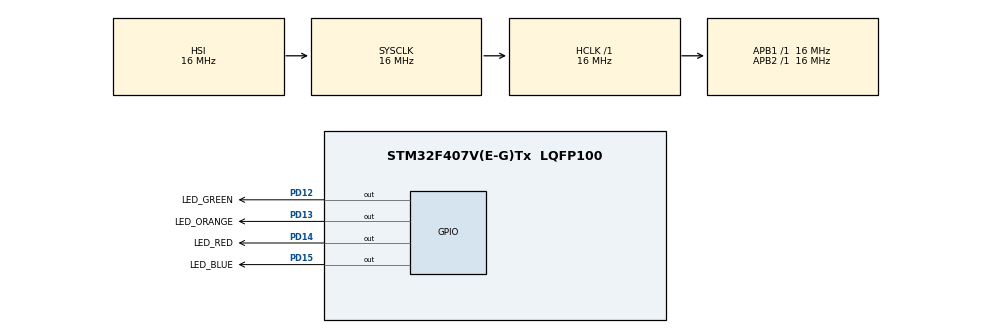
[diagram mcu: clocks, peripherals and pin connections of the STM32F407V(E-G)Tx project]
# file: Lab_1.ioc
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Mcu.Family=STM32F4
Mcu.Name=STM32F407V(E-G)Tx
Mcu.Package=LQFP100
NVIC.PriorityGroup=NVIC_PRIORITYGROUP_4
PD12.GPIO_Label=LED_GREEN
PD12.Signal=GPIO_Output
PD13.GPIO_Label=LED_ORANGE
PD13.Signal=GPIO_Output
PD14.GPIO_Label=LED_RED
PD14.Signal=GPIO_Output
PD15.GPIO_Label=LED_BLUE
PD15.Signal=GPIO_Output
ProjectManager.HeapSize=0x200
ProjectManager.StackSize=0x400
ProjectManager.TargetToolchain=STM32CubeIDE
RCC.AHBFreq_Value=16000000
RCC.APB1Freq_Value=16000000
RCC.APB2Freq_Value=16000000
RCC.CortexFreq_Value=16000000
RCC.HSE_VALUE=25000000
RCC.HSI_VALUE=16000000
RCC.LSE_VALUE=32768
RCC.SYSCLKFreq_VALUE=16000000
RCC.VCOOutputFreq_Value=192000000
board=custom

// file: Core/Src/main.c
/* USER CODE BEGIN Header */
/**
  ******************************************************************************
  * @file           : main.c
  * @brief          : Main program body
  ******************************************************************************
  * @attention
  *
  * Copyright (c) 2024 STMicroelectronics.
  * All rights reserved.
  *
  * This software is licensed under terms that can be found in the LICENSE file
  * in the root directory of this software component.
  * If no LICENSE file comes with this software, it is provided AS-IS.
  *
  ******************************************************************************
  */
/* USER CODE END Header */
#include "main.h"

/* USER CODE BEGIN PTD */

#define LED_SWITCH_DELAY	(100)
#define LED_DELAY	(500)

/* USER CODE END PTD */

void SystemClock_Config(void);
static void MX_GPIO_Init(void);

int main(void)
{

  /* MCU Configuration--------------------------------------------------------*/

  /* Reset of all peripherals, Initializes the Flash interface and the Systick. */
  HAL_Init();

  /* Configure the system clock */
  SystemClock_Config();

  /* Initialize all configured peripherals */
  MX_GPIO_Init();

  /* Infinite loop */
  /* USER CODE BEGIN WHILE */
  while (1)
  {
	  HAL_GPIO_WritePin(LED_GREEN_GPIO_Port, LED_GREEN_Pin, GPIO_PIN_SET);
	  HAL_Delay(LED_DELAY);
	  HAL_GPIO_WritePin(LED_GREEN_GPIO_Port, LED_GREEN_Pin, GPIO_PIN_RESET);
	  HAL_Delay(LED_SWITCH_DELAY);
	  HAL_GPIO_WritePin(LED_GREEN_GPIO_Port, LED_GREEN_Pin, GPIO_PIN_SET);
	  HAL_Delay(LED_DELAY);
	  HAL_GPIO_WritePin(LED_GREEN_GPIO_Port, LED_GREEN_Pin, GPIO_PIN_RESET);
	  HAL_Delay(LED_SWITCH_DELAY);
	  HAL_GPIO_WritePin(LED_GREEN_GPIO_Port, LED_ORANGE_Pin, GPIO_PIN_SET);
	  HAL_Delay(LED_DELAY);
	  HAL_GPIO_WritePin(LED_GREEN_GPIO_Port, LED_ORANGE_Pin, GPIO_PIN_RESET);
	  HAL_Delay(LED_SWITCH_DELAY);
	  HAL_GPIO_WritePin(LED_GREEN_GPIO_Port, LED_RED_Pin, GPIO_PIN_SET);
	  HAL_Delay(LED_DELAY);
	  HAL_GPIO_WritePin(LED_GREEN_GPIO_Port, LED_RED_Pin, GPIO_PIN_RESET);
	  HAL_Delay(LED_SWITCH_DELAY);
	  HAL_GPIO_WritePin(LED_GREEN_GPIO_Port, LED_RED_Pin, GPIO_PIN_SET);
	  HAL_Delay(LED_DELAY);
	  HAL_GPIO_WritePin(LED_GREEN_GPIO_Port, LED_RED_Pin, GPIO_PIN_RESET);
	  HAL_Delay(LED_SWITCH_DELAY);
	  HAL_GPIO_WritePin(LED_GREEN_GPIO_Port, LED_ORANGE_Pin, GPIO_PIN_SET);
	  HAL_Delay(LED_DELAY);
	  HAL_GPIO_WritePin(LED_GREEN_GPIO_Port, LED_ORANGE_Pin, GPIO_PIN_RESET);
	  HAL_Delay(LED_SWITCH_DELAY);
	  HAL_GPIO_WritePin(LED_GREEN_GPIO_Port, LED_GREEN_Pin, GPIO_PIN_SET);
	  HAL_Delay(LED_DELAY);
	  HAL_GPIO_WritePin(LED_GREEN_GPIO_Port, LED_GREEN_Pin, GPIO_PIN_RESET);
	  HAL_Delay(LED_SWITCH_DELAY);
	  HAL_GPIO_WritePin(LED_GREEN_GPIO_Port, LED_BLUE_Pin, GPIO_PIN_SET);
	  HAL_Delay(LED_DELAY);
	  HAL_GPIO_WritePin(LED_GREEN_GPIO_Port, LED_BLUE_Pin, GPIO_PIN_RESET);
	  HAL_Delay(LED_SWITCH_DELAY);
	  HAL_GPIO_WritePin(LED_GREEN_GPIO_Port, LED_GREEN_Pin, GPIO_PIN_SET);
	  HAL_GPIO_WritePin(LED_GREEN_GPIO_Port, LED_ORANGE_Pin, GPIO_PIN_SET);
	  HAL_GPIO_WritePin(LED_GREEN_GPIO_Port, LED_RED_Pin, GPIO_PIN_SET);
	  HAL_GPIO_WritePin(LED_GREEN_GPIO_Port, LED_BLUE_Pin, GPIO_PIN_SET);
	  HAL_Delay(LED_DELAY);
	  HAL_GPIO_WritePin(LED_GREEN_GPIO_Port, LED_GREEN_Pin, GPIO_PIN_RESET);
	  HAL_GPIO_WritePin(LED_GREEN_GPIO_Port, LED_ORANGE_Pin, GPIO_PIN_RESET);
	  HAL_GPIO_WritePin(LED_GREEN_GPIO_Port, LED_RED_Pin, GPIO_PIN_RESET);
	  HAL_GPIO_WritePin(LED_GREEN_GPIO_Port, LED_BLUE_Pin, GPIO_PIN_RESET);
	  HAL_Delay(LED_SWITCH_DELAY);
	  HAL_GPIO_WritePin(LED_GREEN_GPIO_Port, LED_GREEN_Pin, GPIO_PIN_SET);
	  HAL_GPIO_WritePin(LED_GREEN_GPIO_Port, LED_ORANGE_Pin, GPIO_PIN_SET);
	  HAL_GPIO_WritePin(LED_GREEN_GPIO_Port, LED_RED_Pin, GPIO_PIN_SET);
	  HAL_GPIO_WritePin(LED_GREEN_GPIO_Port, LED_BLUE_Pin, GPIO_PIN_SET);
	  HAL_Delay(LED_DELAY);
	  HAL_GPIO_WritePin(LED_GREEN_GPIO_Port, LED_GREEN_Pin, GPIO_PIN_RESET);
	  HAL_GPIO_WritePin(LED_GREEN_GPIO_Port, LED_ORANGE_Pin, GPIO_PIN_RESET);
	  HAL_GPIO_WritePin(LED_GREEN_GPIO_Port, LED_RED_Pin, GPIO_PIN_RESET);
	  HAL_GPIO_WritePin(LED_GREEN_GPIO_Port, LED_BLUE_Pin, GPIO_PIN_RESET);
	  HAL_Delay(LED_SWITCH_DELAY);
	  HAL_GPIO_WritePin(LED_GREEN_GPIO_Port, LED_BLUE_Pin, GPIO_PIN_SET);
	  HAL_Delay(LED_DELAY);
	  HAL_GPIO_WritePin(LED_GREEN_GPIO_Port, LED_BLUE_Pin, GPIO_PIN_RESET);
	  HAL_Delay(LED_SWITCH_DELAY);
	  HAL_GPIO_WritePin(LED_GREEN_GPIO_Port, LED_GREEN_Pin, GPIO_PIN_SET);
	  HAL_Delay(LED_DELAY);
	  HAL_GPIO_WritePin(LED_GREEN_GPIO_Port, LED_GREEN_Pin, GPIO_PIN_RESET);
	  HAL_Delay(LED_SWITCH_DELAY);
	  HAL_GPIO_WritePin(LED_GREEN_GPIO_Port, LED_GREEN_Pin, GPIO_PIN_SET);
	  HAL_Delay(LED_DELAY);
	  HAL_GPIO_WritePin(LED_GREEN_GPIO_Port, LED_GREEN_Pin, GPIO_PIN_RESET);
	  HAL_Delay(LED_SWITCH_DELAY);
	  HAL_GPIO_WritePin(LED_GREEN_GPIO_Port, LED_BLUE_Pin, GPIO_PIN_SET);
	  HAL_Delay(LED_DELAY);
	  HAL_GPIO_WritePin(LED_GREEN_GPIO_Port, LED_BLUE_Pin, GPIO_PIN_RESET);
	  HAL_Delay(LED_SWITCH_DELAY);
	  HAL_GPIO_WritePin(LED_GREEN_GPIO_Port, LED_BLUE_Pin, GPIO_PIN_SET);
	  HAL_Delay(LED_DELAY);
	  HAL_GPIO_WritePin(LED_GREEN_GPIO_Port, LED_BLUE_Pin, GPIO_PIN_RESET);
	  HAL_Delay(LED_SWITCH_DELAY);
    /* USER CODE END WHILE */

  }
}

void SystemClock_Config(void)
{
  RCC_OscInitTypeDef RCC_OscInitStruct = {0};
  RCC_ClkInitTypeDef RCC_ClkInitStruct = {0};

  /** Configure the main internal regulator output voltage
  */
  __HAL_RCC_PWR_CLK_ENABLE();
  __HAL_PWR_VOLTAGESCALING_CONFIG(PWR_REGULATOR_VOLTAGE_SCALE1);

  /** Initializes the RCC Oscillators according to the specified parameters
  * in the RCC_OscInitTypeDef structure.
  */
  RCC_OscInitStruct.OscillatorType = RCC_OSCILLATORTYPE_HSI;
  RCC_OscInitStruct.HSIState = RCC_HSI_ON;
  RCC_OscInitStruct.HSICalibrationValue = RCC_HSICALIBRATION_DEFAULT;
  RCC_OscInitStruct.PLL.PLLState = RCC_PLL_NONE;
  if (HAL_RCC_OscConfig(&RCC_OscInitStruct) != HAL_OK)
  {
    Error_Handler();
  }

  /** Initializes the CPU, AHB and APB buses clocks
  */
  RCC_ClkInitStruct.ClockType = RCC_CLOCKTYPE_HCLK|RCC_CLOCKTYPE_SYSCLK
                              |RCC_CLOCKTYPE_PCLK1|RCC_CLOCKTYPE_PCLK2;
  RCC_ClkInitStruct.SYSCLKSource = RCC_SYSCLKSOURCE_HSI;
  RCC_ClkInitStruct.AHBCLKDivider = RCC_SYSCLK_DIV1;
  RCC_ClkInitStruct.APB1CLKDivider = RCC_HCLK_DIV1;
  RCC_ClkInitStruct.APB2CLKDivider = RCC_HCLK_DIV1;

  if (HAL_RCC_ClockConfig(&RCC_ClkInitStruct, FLASH_LATENCY_0) != HAL_OK)
  {
    Error_Handler();
  }
}

static void MX_GPIO_Init(void)
{
  GPIO_InitTypeDef GPIO_InitStruct = {0};

  /* GPIO Ports Clock Enable */
  __HAL_RCC_GPIOD_CLK_ENABLE();

  /*Configure GPIO pin Output Level */
  HAL_GPIO_WritePin(GPIOD, LED_GREEN_Pin|LED_ORANGE_Pin|LED_RED_Pin|LED_BLUE_Pin, GPIO_PIN_RESET);

  /*Configure GPIO pins : LED_GREEN_Pin LED_ORANGE_Pin LED_RED_Pin LED_BLUE_Pin */
  GPIO_InitStruct.Pin = LED_GREEN_Pin|LED_ORANGE_Pin|LED_RED_Pin|LED_BLUE_Pin;
  GPIO_InitStruct.Mode = GPIO_MODE_OUTPUT_PP;
  GPIO_InitStruct.Pull = GPIO_NOPULL;
  GPIO_InitStruct.Speed = GPIO_SPEED_FREQ_LOW;
  HAL_GPIO_Init(GPIOD, &GPIO_InitStruct);

}

void Error_Handler(void)
{
  __disable_irq();
  while (1)
  {
  }
}
